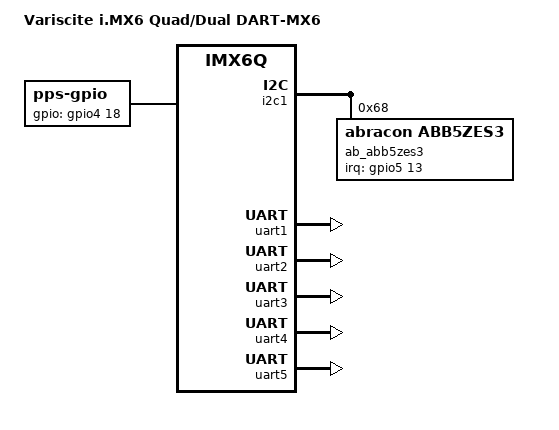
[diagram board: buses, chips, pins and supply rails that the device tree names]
/*
 * Copyright (C) 2015-2017 Variscite Ltd.
 *
 * This program is free software; you can redistribute it and/or modify
 * it under the terms of the GNU General Public License version 2 as
 * published by the Free Software Foundation.
 */

/dts-v1/;

#include "imx6q.dtsi"
#include "imx6qdl-iris2.dtsi"

/ {
	model = "Variscite i.MX6 Quad/Dual DART-MX6";
	compatible = "variscite,imx6q-var-dart", "fsl,imx6q";

	pps {
		compatible = "pps-gpio";
		pinctrl-names = "default";
		pinctrl-0 = <&pinctrl_pps>;
		gpios = <&gpio4 18 GPIO_ACTIVE_HIGH>;
		status = "okay";
	};
};

&iomuxc {
	imx6qdl-var-som-mx6 {
		pinctrl_pps: ppsgrp {
			fsl,pins = <
				MX6QDL_PAD_DI0_PIN2__GPIO4_IO18	0x1b0b1	/* 100K PU, HYS, KEEPER, FAST */
			>;
		};
	};
};

&cpu0 {
	operating-points = <
		/* kHz    uV */
		1200000	1350000
		996000	1250000
		852000	1250000
		792000	1175000
		396000	1175000
	>;
	fsl,soc-operating-points = <
		/* ARM kHz  SOC-PU uV */
		1200000	1275000
		996000	1250000
		852000	1250000
		792000	1250000
		396000	1250000
	>;
};

&i2c1 {
	ab_abb5zes3: ab-abb5zes3@68 {
		compatible = "abracon,abb5zes3";
		interrupt-parent = <&gpio5>;
		interrupts = <13 IRQ_TYPE_EDGE_FALLING>;
		pinctrl-0 = <&pmx_rtc_alarm_int>;
		pinctrl-names = "default";
		reg = <0x68>;
	};
};

/* ttymxc0 UART (Console) */
&uart1 {
	pinctrl-names = "default";
	pinctrl-0 = <&pinctrl_uart1_1>;
	uart-has-rtscts;
	status = "okay";
};

/* ttymxc1 UART (External) */
&uart2 {
	pinctrl-names = "default";
	pinctrl-0 = <&pinctrl_uart2_1>;
	status = "okay";
};

/* ttymxc2 UART (PDDL) */
&uart3 {
	pinctrl-names = "default";
	pinctrl-0 = <&pinctrl_uart3_1>;
	status = "okay";
};

/* ttymxc3 UART (Pixhawk) */
&uart4 {
	pinctrl-names = "default";
	pinctrl-0 = <&pinctrl_uart4_1>;
	status = "okay";
};

/* ttymxc4 UART (Iridium) */
&uart5 {
	pinctrl-names = "default";
	pinctrl-0 = <&pinctrl_uart5_1>;
	status = "okay";
};
